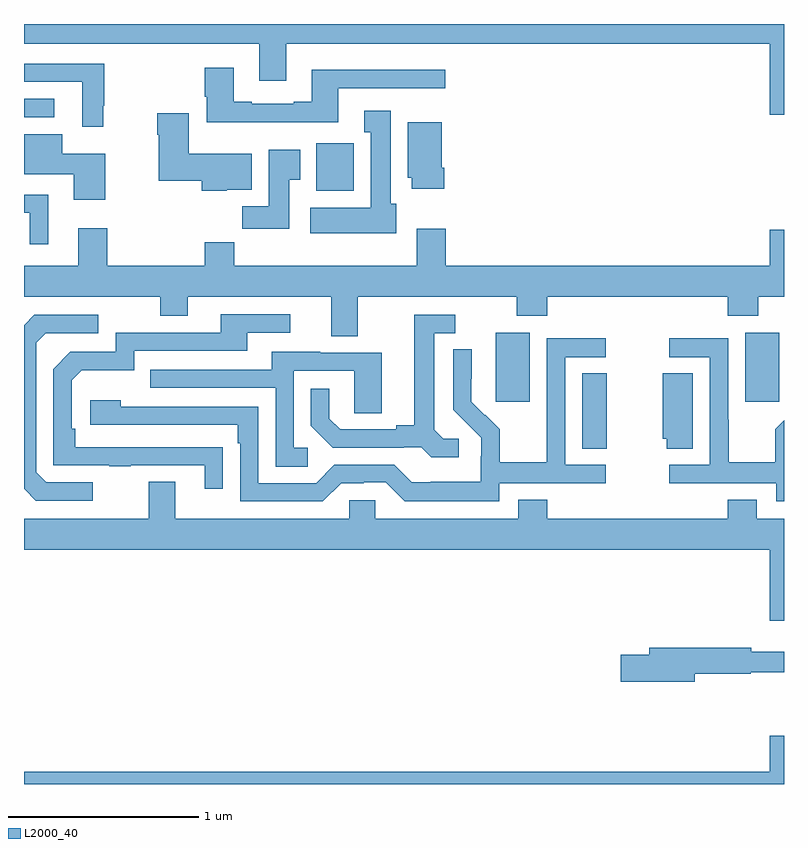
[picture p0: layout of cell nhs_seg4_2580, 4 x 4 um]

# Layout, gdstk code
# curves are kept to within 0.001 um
import gdstk
lib = gdstk.Library(unit=1e-6, precision=1e-09)
def R(c, l, rs):  # rectangles x0, y0, x1, y1
    for r in rs: c.add(gdstk.rectangle(r[:2], r[2:], *l))
def P(c, l, *ps):  # polygons
    for p in ps: c.add(gdstk.Polygon(p, *l))
L2000_40 = (2000, 40)

nhs_seg4_2580 = lib.new_cell('nhs_seg4_2580')
R(nhs_seg4_2580, L2000_40, [(247.937,818.665,248.068,819.062), (247.484,818.913,247.663,819.274), (248.795,818.913,248.974,819.274), (246.539,820.022,246.735,820.273), (245,820.41,245.158,820.506)])
P(nhs_seg4_2580, L2000_40, [(249,820.9),(245,820.9),(245,820.796),(246.239,820.796),(246.239,820.602),(246.379,820.602),(246.379,820.796),(248.924,820.796),(248.924,820.422),(249,820.422)],
  [(245.416,820.471),(245.423,820.471),(245.423,820.692),(245,820.692),(245,820.596),(245.306,820.596),(245.306,820.359),(245.416,820.359)],
  [(246.655,820.563),(247.216,820.563),(247.216,820.66),(246.515,820.66),(246.515,820.492),(246.419,820.492),(246.419,820.479),(246.199,820.479),(246.199,820.492),(246.103,820.492),(246.103,820.669),(245.951,820.669),(245.951,820.516),(245.963,820.516),(245.963,820.382),(246.655,820.382)],
  [(246.958,819.954),(246.931,819.954),(246.931,820.444),(246.791,820.444),(246.791,820.331),(246.824,820.331),(246.824,819.934),(246.507,819.934),(246.507,819.8),(246.958,819.8)],
  [(246.066,820.028),(246.199,820.028),(246.199,820.216),(245.866,820.216),(245.866,820.429),(245.701,820.429),(245.701,820.316),(245.708,820.316),(245.708,820.076),(245.936,820.076),(245.936,820.022),(246.066,820.022)],
  [(247.211,820.144),(247.198,820.144),(247.198,820.384),(247.019,820.384),(247.019,820.092),(247.04,820.092),(247.04,820.032),(247.211,820.032)],
  [(245.428,820.216),(245.2,820.216),(245.2,820.321),(245,820.321),(245,820.109),(245.261,820.109),(245.261,819.975),(245.428,819.975)],
  [(246.397,820.081),(246.454,820.081),(246.454,820.237),(246.287,820.237),(246.287,819.94),(246.148,819.94),(246.148,819.822),(246.397,819.822)],
  [(245.128,820.002),(245,820.002),(245,819.906),(245.03,819.906),(245.03,819.741),(245.128,819.741)],
  [(246.757,819.464),(247.594,819.464),(247.594,819.365),(247.754,819.365),(247.754,819.464),(248.705,819.464),(248.705,819.365),(248.865,819.365),(248.865,819.464),(249,819.464),(249,819.817),(248.924,819.817),(248.924,819.628),(247.22,819.628),(247.22,819.823),(247.067,819.823),(247.067,819.628),(246.107,819.628),(246.107,819.752),(245.951,819.752),(245.951,819.628),(245.438,819.628),(245.438,819.826),(245.285,819.826),(245.285,819.628),(245,819.628),(245,819.464),(245.716,819.464),(245.716,819.365),(245.863,819.365),(245.863,819.464),(246.617,819.464),(246.617,819.256),(246.757,819.256)],
  [(246.047,818.672),(245.27,818.673),(245.27,818.77),(245.25,818.77),(245.25,819.024),(245.303,819.077),(245.58,819.077),(245.58,819.18),(246.175,819.18),(246.175,819.276),(246.4,819.276),(246.4,819.372),(246.035,819.372),(246.035,819.276),(245.484,819.276),(245.484,819.174),(245.244,819.174),(245.154,819.084),(245.154,818.577),(245.449,818.577),(245.449,818.572),(245.561,818.572),(245.561,818.577),(245.951,818.577),(245.951,818.454),(246.047,818.454)],
  [(245.362,818.487),(245.118,818.487),(245.064,818.541),(245.064,819.222),(245.115,819.273),(245.392,819.273),(245.392,819.369),(245.055,819.369),(245,819.314),(245,818.453),(245.061,818.391),(245.362,818.391)],
  [(247.288,818.718),(247.206,818.718),(247.159,818.765),(247.159,819.273),(247.27,819.273),(247.27,819.369),(247.055,819.369),(247.055,818.789),(246.959,818.789),(246.959,818.766),(246.664,818.766),(246.607,818.823),(246.607,818.98),(246.51,818.98),(246.51,818.786),(246.626,818.67),(246.998,818.67),(246.998,818.673),(247.092,818.673),(247.144,818.621),(247.288,818.621)],
  [(247.5,818.484),(248.062,818.484),(248.062,818.58),(247.848,818.58),(247.848,819.147),(248.062,819.147),(248.062,819.246),(247.752,819.246),(247.752,818.816),(247.75,818.816),(247.75,818.593),(247.505,818.593),(247.505,818.767),(247.428,818.844),(247.425,818.841),(247.355,818.912),(247.356,819.188),(247.26,819.188),(247.26,818.87),(247.406,818.722),(247.406,818.625),(247.404,818.625),(247.404,818.491),(247.141,818.491),(247.141,818.487),(247.041,818.487),(246.948,818.58),(246.633,818.58),(246.537,818.484),(246.234,818.484),(246.234,818.886),(245.51,818.886),(245.51,818.92),(245.349,818.92),(245.349,818.79),(246.125,818.79),(246.125,818.693),(246.138,818.693),(246.138,818.388),(246.573,818.388),(246.669,818.484),(246.788,818.484),(246.788,818.487),(246.903,818.487),(247.003,818.387),(247.5,818.387)],
  [(249,818.814),(248.953,818.767),(248.953,818.593),(248.709,818.593),(248.709,818.816),(248.706,818.816),(248.706,819.246),(248.397,819.246),(248.397,819.147),(248.61,819.147),(248.61,818.58),(248.397,818.58),(248.397,818.484),(248.958,818.484),(248.958,818.387),(249,818.387)],
  [(246.493,818.67),(246.42,818.67),(246.42,819.075),(246.738,819.075),(246.738,818.851),(246.883,818.851),(246.883,819.171),(246.559,819.171),(246.559,819.175),(246.305,819.175),(246.305,819.081),(245.665,819.081),(245.665,818.985),(246.324,818.985),(246.324,818.569),(246.493,818.569)],
  [(248.521,819.062),(248.363,819.062),(248.363,818.718),(248.383,818.718),(248.383,818.665),(248.521,818.665)],
  [(249,818.296),(248.857,818.296),(248.857,818.395),(248.705,818.395),(248.705,818.296),(247.754,818.296),(247.754,818.395),(247.601,818.395),(247.601,818.296),(246.849,818.296),(246.849,818.394),(246.711,818.394),(246.711,818.296),(245.797,818.296),(245.797,818.491),(245.657,818.491),(245.657,818.296),(245,818.296),(245,818.132),(248.924,818.132),(248.924,817.758),(249,817.758)],
  [(248.53,817.48),(248.826,817.48),(248.826,817.488),(249,817.488),(249,817.597),(248.828,817.597),(248.828,817.616),(248.291,817.616),(248.291,817.58),(248.142,817.58),(248.142,817.438),(248.53,817.438)],
  [(249,817.153),(248.924,817.153),(248.924,816.964),(245,816.964),(245,816.9),(249,816.9)])

lib.write_gds('nhs_seg4_2580.gds')
